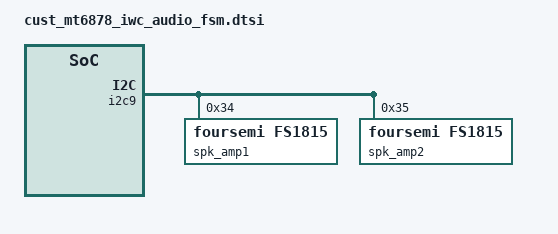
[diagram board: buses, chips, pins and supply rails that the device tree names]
/* Copyright (c) 2018, The Linux Foundation. All rights reserved.
 *
 * This program is free software; you can redistribute it and/or modify
 * it under the terms of the GNU General Public License version 2 and
 * only version 2 as published by the Free Software Foundation.
 *
 * This program is distributed in the hope that it will be useful,
 * but WITHOUT ANY WARRANTY; without even the implied warranty of
 * MERCHANTABILITY or FITNESS FOR A PARTICULAR PURPOSE.  See the
 * GNU General Public License for more details.
 */

&odm {
	frsm_amp: frsm_amp {
		compatible = "foursemi,frsm-amp";
		frsm,amp-ndev = <2>;
		frsm,class-enable;
		status = "ok";
	};
};

/* i2c device */
&i2c9 {
	spk_amp1: fs18xx@34 {
		compatible = "foursemi,fs1815";
		reg = <0x34>;
		spkr-id = <2>;
		fwm-name = "frsm-spk2.bin";
		status = "okay";
	};

	spk_amp2: fs18xx@35 {
		compatible = "foursemi,fs1815";
		reg = <0x35>;
		spkr-id = <1>;
		fwm-name = "frsm-spk1.bin";
		status = "okay";
	};
};

